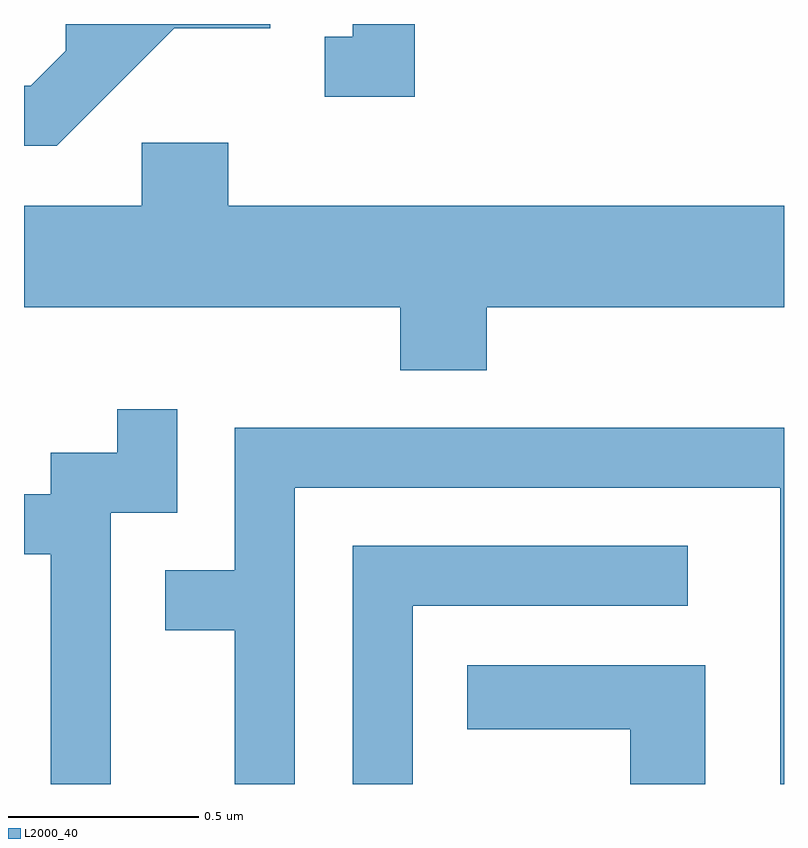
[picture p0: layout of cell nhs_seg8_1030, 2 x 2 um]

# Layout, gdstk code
import gdstk
lib = gdstk.Library(unit=1e-6, precision=1e-09)
def P(c, l, *ps):  # polygons
    for p in ps: c.add(gdstk.Polygon(p, *l))
L2000_40 = (2000, 40)

nhs_seg8_1030 = lib.new_cell('nhs_seg8_1030')
P(nhs_seg8_1030, L2000_40, [(193.007,1879.331),(193.259,1879.331),(193.259,1879.342),(192.721,1879.342),(192.721,1879.272),(192.629,1879.179),(192.611,1879.179),(192.611,1879.021),(192.697,1879.021)],
  [(193.639,1879.342),(193.476,1879.342),(193.476,1879.309),(193.403,1879.309),(193.403,1879.151),(193.639,1879.151)],
  [(193.829,1878.596),(194.611,1878.596),(194.611,1878.864),(193.149,1878.864),(193.149,1879.029),(192.921,1879.029),(192.921,1878.864),(192.611,1878.864),(192.611,1878.596),(193.601,1878.596),(193.601,1878.431),(193.829,1878.431)],
  [(192.839,1878.056),(193.014,1878.056),(193.014,1878.328),(192.856,1878.328),(192.856,1878.214),(192.681,1878.214),(192.681,1878.104),(192.611,1878.104),(192.611,1877.946),(192.681,1877.946),(192.681,1877.342),(192.839,1877.342)],
  [(193.324,1878.121),(194.601,1878.121),(194.601,1877.342),(194.611,1877.342),(194.611,1878.279),(193.166,1878.279),(193.166,1877.904),(192.983,1877.904),(192.983,1877.746),(193.166,1877.746),(193.166,1877.342),(193.324,1877.342)],
  [(193.634,1877.811),(194.358,1877.811),(194.358,1877.969),(193.476,1877.969),(193.476,1877.342),(193.634,1877.342)],
  [(194.404,1877.654),(193.778,1877.654),(193.778,1877.486),(194.206,1877.486),(194.206,1877.342),(194.404,1877.342)])

lib.write_gds('nhs_seg8_1030.gds')
